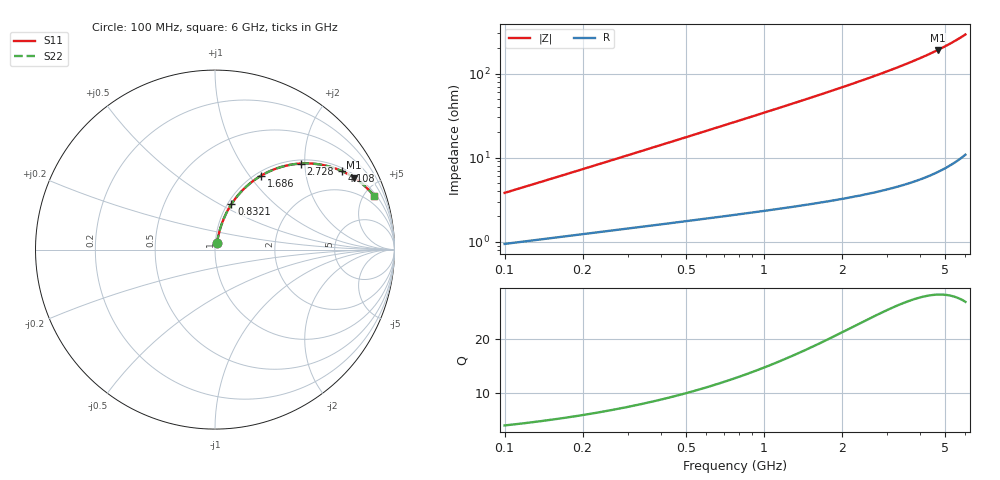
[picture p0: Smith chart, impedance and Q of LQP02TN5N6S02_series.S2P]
!Murata Part Number: LQP02TN5N6S02
!These Parameters are Measured in Series Mode Connection
!  o--[+]--o
!Port1  Port2
!  o-------o
!Freq. Start=100[MHz] Stop=6[GHz], 401[Steps]
# Hz S RI R 50
!Freq.(Hz)	S 11(Real)	S 11(Imag)	S 21(Real)	S 21(Imag)	S 12(Real)	S 12(Imag)	S 22(Real)	S 22(Imag)
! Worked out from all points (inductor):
!   401 points, 100 MHz to 6 GHz, reference 50 ohm
!   read as one part in series: L = 5.81 nH near 102.1 MHz
!   highest Q = 28.3 at 4.693 GHz (marker M1), where L = 6.45 nH
!   S11 on the Smith chart (normalised r, x): 100 MHz: 1.02, +0.07; 832.1 MHz: 1.04, +0.57; 1.686 GHz: 1.06, +1.15; 2.728 GHz: 1.08, +1.91; 4.108 GHz: 1.11, +3.14; 6 GHz: 1.22, +5.82
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1e8  0.0106 0.0361  0.9894 -0.0361  0.9894 -0.0361  0.0106 0.0361
1.239804e8  0.0121 0.0443  0.9879 -0.0443  0.9879 -0.0443  0.0121 0.0443
1.460424e8  0.0135 0.0518  0.9865 -0.0518  0.9865 -0.0518  0.0135 0.0518
2.005791e8  0.0171 0.0699  0.9829 -0.0699  0.9829 -0.0699  0.0171 0.0699
2.671507e8  0.0221 0.0915  0.9779 -0.0915  0.9779 -0.0915  0.0221 0.0915
3.48607e8  0.0291 0.1171  0.9709 -0.1171  0.9709 -0.1171  0.0291 0.1171
4.456821e8  0.0389 0.1467  0.9611 -0.1467  0.9611 -0.1467  0.0389 0.1467
5.582433e8  0.052 0.1796  0.948 -0.1796  0.948 -0.1796  0.052 0.1796
6.850639e8  0.069 0.2147  0.931 -0.2147  0.931 -0.2147  0.069 0.2147
8.32134e8  0.0913 0.2528  0.9087 -0.2528  0.9087 -0.2528  0.0913 0.2528
1.085858e9  0.1356 0.3113  0.8644 -0.3113  0.8644 -0.3113  0.1356 0.3113
1.360102e9  0.1894 0.364  0.8106 -0.364  0.8106 -0.364  0.1894 0.364
1.686259e9  0.2581 0.4126  0.7419 -0.4126  0.7419 -0.4126  0.2581 0.4126
2.06934e9  0.3411 0.4514  0.6589 -0.4514  0.6589 -0.4514  0.3411 0.4514
2.72808e9  0.4779 0.4795  0.5221 -0.4795  0.5221 -0.4795  0.4779 0.4795
3.053207e9  0.5396 0.4793  0.4604 -0.4793  0.4604 -0.4793  0.5396 0.4793
3.559893e9  0.6259 0.4657  0.3741 -0.4657  0.3741 -0.4657  0.6259 0.4657
4.066557e9  0.6999 0.4407  0.3001 -0.4407  0.3001 -0.4407  0.6999 0.4407
4.108396e9  0.7055 0.4382  0.2945 -0.4382  0.2945 -0.4382  0.7055 0.4382
4.693126e9  0.7755 0.3999  0.2245 -0.3999  0.2245 -0.3999  0.7755 0.3999
5.041733e9  0.8106 0.3745  0.1894 -0.3745  0.1894 -0.3745  0.8106 0.3745
6e9  0.8858 0.3  0.1142 -0.3  0.1142 -0.3  0.8858 0.3
